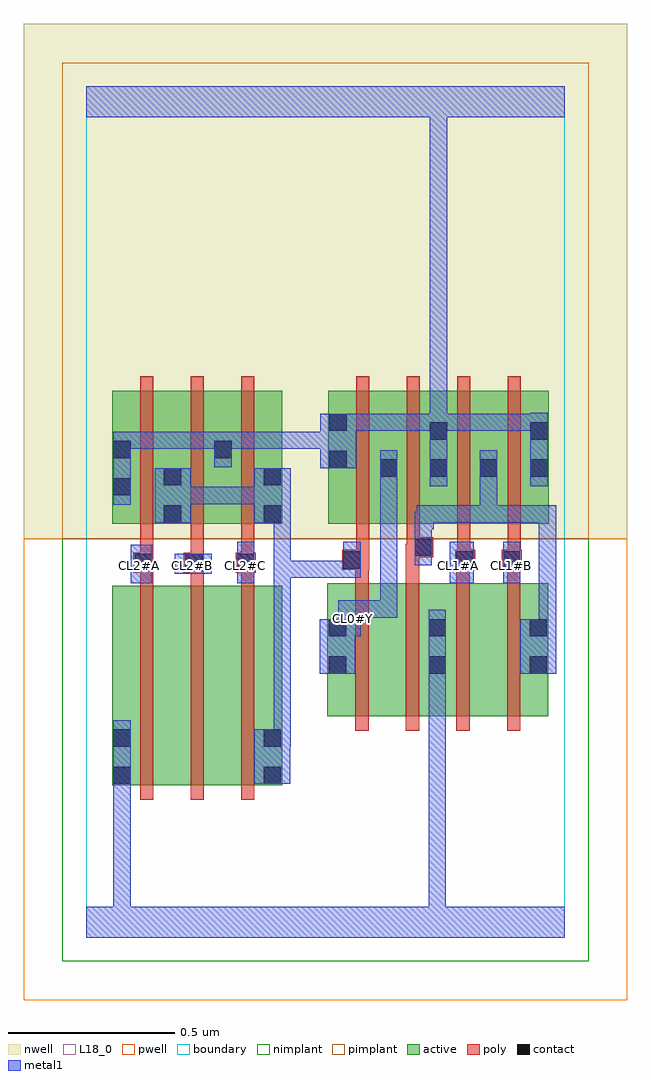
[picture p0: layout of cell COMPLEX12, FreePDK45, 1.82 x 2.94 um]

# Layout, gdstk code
import gdstk
lib = gdstk.Library(unit=1e-6, precision=1e-09)
def R(c, l, rs):  # rectangles x0, y0, x1, y1
    for r in rs: c.add(gdstk.rectangle(r[:2], r[2:], *l))
def A(c, l, x, y, w, h, nx, ny, dx, dy):  # array of equal rectangles
    R(c, l, [(x+i*dx, y+j*dy, x+i*dx+w, y+j*dy+h) for i in range(nx) for j in range(ny)])
active = (1, 0)
pwell = (2, 0)
nwell = (3, 0)
nimplant = (4, 0)
pimplant = (5, 0)
poly = (9, 0)
contact = (10, 0)
metal1 = (11, 0)
L18_0 = (18, 0)
boundary = (235, 0)

complex12 = lib.new_cell('COMPLEX12')
A(complex12, active, 0.078, 1.244, 0.06, 0.4, 3, 1, 0.152, 0)
A(complex12, active, 0.88, 1.244, 0.06, 0.4, 3, 1, 0.15, 0)
R(complex12, active, [(0.078,0.458,0.138,1.058), (0.078,0.458,0.258,1.058), (0.258,0.458,0.41,1.058), (0.41,0.458,0.59,1.058), (0.53,0.458,0.59,1.058), (0.726,0.666,0.906,1.066), (0.906,0.666,1.086,1.066), (1.026,0.666,1.21,1.066), (1.21,0.666,1.39,1.066), (0.726,0.756,0.786,1.066), (1.026,0.756,1.086,1.066), (1.33,0.756,1.39,1.066), (0.078,1.244,0.29,1.644), (0.23,1.244,0.442,1.644), (0.382,1.244,0.59,1.644), (0.53,1.244,0.59,1.644), (0.728,1.244,0.788,1.644), (0.728,1.244,0.94,1.644), (0.88,1.244,1.09,1.644), (1.03,1.244,1.24,1.644), (1.18,1.244,1.392,1.644), (1.332,1.244,1.392,1.644)])
R(complex12, pwell, [(-0.188,-0.188,1.628,1.2)])
R(complex12, nwell, [(-0.188,1.2,1.628,2.748)])
R(complex12, nimplant, [(-0.072,-0.072,1.512,1.2)])
R(complex12, pimplant, [(-0.072,1.2,1.512,2.632)])
A(complex12, poly, 0.162, 0.414, 0.04, 0.688, 3, 1, 0.152, 0)
A(complex12, poly, 0.81, 0.622, 0.04, 0.488, 4, 1, 0.152, 0)
A(complex12, poly, 0.162, 1.062, 0.04, 0.076, 3, 1, 0.152, 0)
A(complex12, poly, 0.162, 1.118, 0.04, 0.122, 3, 1, 0.152, 0)
A(complex12, poly, 0.162, 1.2, 0.04, 0.488, 3, 1, 0.152, 0)
A(complex12, poly, 0.812, 1.2, 0.04, 0.488, 4, 1, 0.152, 0)
R(complex12, poly, [(0.81,1.07,0.85,1.146), (0.962,1.07,1.002,1.184), (1.114,1.07,1.154,1.146), (1.266,1.07,1.306,1.146), (0.142,1.098,0.202,1.158), (0.162,1.098,0.202,1.138), (0.162,1.098,0.202,1.138), (0.294,1.098,0.354,1.158), (0.314,1.098,0.354,1.138), (0.314,1.098,0.354,1.138), (0.45,1.098,0.51,1.158), (0.466,1.098,0.506,1.138), (0.466,1.098,0.506,1.138), (0.77,1.106,0.852,1.166), (0.81,1.106,0.85,1.146), (0.81,1.106,0.85,1.146), (1.11,1.106,1.17,1.166), (1.25,1.106,1.31,1.166), (0.812,1.126,0.852,1.24), (1.116,1.126,1.156,1.24), (1.116,1.126,1.156,1.166), (1.116,1.126,1.156,1.166), (1.268,1.126,1.308,1.24), (1.268,1.126,1.308,1.166), (1.268,1.126,1.308,1.166), (0.962,1.144,1.004,1.184), (0.964,1.144,1.004,1.184), (0.964,1.144,1.044,1.204), (0.964,1.164,1.004,1.24)])
A(complex12, contact, 0.884, 1.386, 0.052, 0.052, 3, 1, 0.15, 0)
R(complex12, contact, [(0.082,0.462,0.134,0.514), (0.534,0.462,0.586,0.514), (0.082,0.574,0.134,0.626), (0.534,0.574,0.586,0.626), (0.73,0.794,0.782,0.846), (1.03,0.794,1.082,0.846), (1.334,0.794,1.386,0.846), (0.73,0.906,0.782,0.958), (1.03,0.906,1.082,0.958), (1.334,0.906,1.386,0.958), (0.146,1.102,0.198,1.154), (0.298,1.102,0.35,1.154), (0.454,1.102,0.506,1.154), (0.774,1.11,0.826,1.162), (1.114,1.11,1.166,1.162), (1.254,1.11,1.306,1.162), (0.988,1.148,1.04,1.2), (0.234,1.248,0.286,1.3), (0.534,1.248,0.586,1.3), (0.082,1.33,0.134,1.382), (0.234,1.36,0.286,1.412), (0.534,1.36,0.586,1.412), (1.336,1.386,1.388,1.438), (0.732,1.412,0.784,1.464), (0.082,1.442,0.134,1.494), (0.386,1.442,0.438,1.494), (1.034,1.498,1.086,1.55), (1.336,1.498,1.388,1.55), (0.732,1.524,0.784,1.576)])
R(complex12, metal1, [(0,0,1.44,0.092), (0.082,0.04,0.134,0.092), (0.082,0.04,0.134,0.092), (0.082,0.04,0.134,0.092), (0.082,0.04,0.134,0.092), (0.082,0.04,0.134,0.092), (0.082,0.04,0.134,0.092), (0.082,0.04,0.134,0.486), (1.03,0.04,1.082,0.092), (1.03,0.04,1.082,0.092), (1.03,0.04,1.082,0.092), (1.03,0.04,1.082,0.092), (1.03,0.04,1.082,0.092), (1.03,0.04,1.082,0.092), (1.03,0.04,1.082,0.092), (1.03,0.04,1.082,0.092), (1.03,0.04,1.082,0.818), (0.082,0.434,0.134,0.486), (0.082,0.434,0.134,0.486), (0.082,0.434,0.134,0.654), (0.506,0.462,0.614,0.626), (0.562,0.574,0.614,0.626), (0.562,0.574,0.616,0.626), (0.564,0.574,0.616,1.134), (1.03,0.766,1.082,0.818), (1.03,0.766,1.082,0.818), (1.03,0.766,1.082,0.818), (1.03,0.766,1.082,0.818), (1.03,0.766,1.082,0.986), (0.702,0.794,0.81,0.958), (1.306,0.794,1.414,0.958), (0.758,0.906,0.81,0.958), (0.758,0.906,0.826,1.014), (1.362,0.906,1.414,0.958), (1.362,0.906,1.414,0.958), (1.362,0.906,1.414,1.3), (0.774,0.962,0.826,1.014), (0.774,0.962,0.826,1.014), (0.774,0.962,0.936,1.014), (0.884,0.962,0.936,1.014), (0.884,0.962,0.936,1.41), (0.134,1.066,0.198,1.182), (0.454,1.066,0.506,1.19), (1.094,1.066,1.166,1.19), (1.254,1.066,1.306,1.19), (0.564,1.082,0.616,1.134), (0.564,1.082,0.826,1.134), (0.564,1.082,0.616,1.3), (0.774,1.082,0.826,1.134), (0.774,1.082,0.826,1.134), (0.774,1.082,0.826,1.19), (0.266,1.094,0.378,1.154), (0.988,1.12,1.04,1.28), (0.988,1.228,1.046,1.28), (0.994,1.228,1.046,1.3), (0.206,1.248,0.314,1.412), (0.506,1.248,0.616,1.412), (0.994,1.248,1.196,1.3), (1.144,1.248,1.196,1.3), (1.144,1.248,1.236,1.3), (1.184,1.248,1.236,1.3), (1.184,1.248,1.414,1.3), (1.184,1.248,1.236,1.41), (1.362,1.248,1.414,1.3), (1.362,1.248,1.414,1.3), (1.362,1.248,1.414,1.3), (0.082,1.302,0.134,1.522), (0.262,1.304,0.314,1.356), (0.262,1.304,0.314,1.356), (0.262,1.304,0.424,1.356), (0.372,1.304,0.424,1.356), (0.372,1.304,0.424,1.356), (0.372,1.304,0.424,1.356), (0.372,1.304,0.558,1.356), (0.884,1.358,0.936,1.41), (0.884,1.358,0.936,1.41), (0.884,1.358,0.936,1.466), (1.034,1.358,1.086,1.578), (1.184,1.358,1.236,1.466), (1.336,1.358,1.388,1.578), (0.704,1.412,0.812,1.576), (0.386,1.414,0.438,1.522), (0.082,1.47,0.134,1.522), (0.082,1.47,0.134,1.522), (0.082,1.47,0.244,1.522), (0.192,1.47,0.244,1.522), (0.192,1.47,0.244,1.522), (0.192,1.47,0.244,1.522), (0.192,1.47,0.438,1.522), (0.386,1.47,0.644,1.522), (0.592,1.47,0.644,1.522), (0.592,1.47,0.644,1.522), (0.592,1.47,0.644,1.522), (0.592,1.47,0.756,1.522), (0.76,1.524,0.812,1.576), (0.76,1.524,0.812,1.576), (0.76,1.524,0.936,1.576), (0.884,1.524,0.936,1.576), (0.884,1.524,0.936,1.576), (0.884,1.524,0.936,1.576), (0.884,1.524,1.086,1.576), (1.034,1.524,1.196,1.576), (1.144,1.524,1.196,1.576), (1.144,1.524,1.196,1.576), (1.144,1.524,1.196,1.576), (1.144,1.524,1.388,1.576), (1.336,1.524,1.388,1.576), (1.336,1.524,1.388,1.576), (1.034,1.526,1.086,2.52), (0,2.468,1.44,2.56), (1.034,2.468,1.086,2.52), (1.034,2.468,1.086,2.52), (1.034,2.468,1.086,2.52), (1.034,2.468,1.086,2.52), (1.034,2.468,1.086,2.52), (1.034,2.468,1.086,2.52), (1.034,2.468,1.086,2.52), (1.034,2.468,1.086,2.52), (1.034,2.468,1.086,2.52), (1.034,2.468,1.086,2.52), (1.034,2.468,1.086,2.52), (1.034,2.468,1.086,2.52), (1.034,2.468,1.086,2.52), (1.034,2.468,1.086,2.52), (1.034,2.468,1.086,2.52), (1.034,2.468,1.086,2.52)])
A(complex12, L18_0, 0.134, 1.094, 0.052, 0.052, 3, 1, 0.16, 0)
R(complex12, L18_0, [(0,0,1.44,0.092), (0.082,0.04,0.134,0.092), (0.082,0.04,0.134,0.092), (0.082,0.04,0.134,0.092), (0.082,0.04,0.134,0.092), (0.082,0.04,0.134,0.092), (0.082,0.04,0.134,0.092), (0.082,0.04,0.134,0.486), (1.03,0.04,1.082,0.092), (1.03,0.04,1.082,0.092), (1.03,0.04,1.082,0.092), (1.03,0.04,1.082,0.092), (1.03,0.04,1.082,0.092), (1.03,0.04,1.082,0.092), (1.03,0.04,1.082,0.092), (1.03,0.04,1.082,0.092), (1.03,0.04,1.082,0.818), (0.082,0.434,0.134,0.486), (0.082,0.434,0.134,0.486), (0.082,0.434,0.134,0.654), (1.03,0.766,1.082,0.818), (1.03,0.766,1.082,0.818), (1.03,0.766,1.082,0.818), (1.03,0.766,1.082,0.818), (1.03,0.766,1.082,0.986), (0.702,0.794,0.81,0.958), (0.758,0.906,0.81,0.958), (0.758,0.906,0.826,1.014), (0.774,0.934,0.826,0.986), (0.774,0.962,0.826,1.014), (0.774,0.962,0.826,1.014), (0.774,0.962,0.936,1.014), (0.884,0.962,0.936,1.014), (0.884,0.962,0.936,1.41), (0.134,1.066,0.198,1.182), (0.454,1.066,0.506,1.19), (1.094,1.066,1.166,1.19), (1.254,1.066,1.306,1.19), (0.266,1.094,0.378,1.154), (1.094,1.094,1.146,1.146), (1.254,1.094,1.306,1.146), (0.082,1.302,0.134,1.522), (0.884,1.358,0.936,1.41), (0.884,1.358,0.936,1.41), (0.884,1.358,0.936,1.466), (1.034,1.358,1.086,1.578), (1.336,1.358,1.388,1.578), (0.704,1.412,0.812,1.576), (0.386,1.414,0.438,1.522), (0.082,1.47,0.134,1.522), (0.082,1.47,0.134,1.522), (0.082,1.47,0.244,1.522), (0.192,1.47,0.244,1.522), (0.192,1.47,0.244,1.522), (0.192,1.47,0.244,1.522), (0.192,1.47,0.438,1.522), (0.386,1.47,0.644,1.522), (0.592,1.47,0.644,1.522), (0.592,1.47,0.644,1.522), (0.592,1.47,0.644,1.522), (0.592,1.47,0.756,1.522), (0.76,1.524,0.812,1.576), (0.76,1.524,0.812,1.576), (0.76,1.524,0.936,1.576), (0.884,1.524,0.936,1.576), (0.884,1.524,0.936,1.576), (0.884,1.524,0.936,1.576), (0.884,1.524,1.086,1.576), (1.034,1.524,1.196,1.576), (1.144,1.524,1.196,1.576), (1.144,1.524,1.196,1.576), (1.144,1.524,1.196,1.576), (1.144,1.524,1.388,1.576), (1.336,1.524,1.388,1.576), (1.336,1.524,1.388,1.576), (1.034,1.526,1.086,2.52), (0,2.468,1.44,2.56), (1.034,2.468,1.086,2.52), (1.034,2.468,1.086,2.52), (1.034,2.468,1.086,2.52), (1.034,2.468,1.086,2.52), (1.034,2.468,1.086,2.52), (1.034,2.468,1.086,2.52), (1.034,2.468,1.086,2.52), (1.034,2.468,1.086,2.52), (1.034,2.468,1.086,2.52), (1.034,2.468,1.086,2.52), (1.034,2.468,1.086,2.52), (1.034,2.468,1.086,2.52), (1.034,2.468,1.086,2.52), (1.034,2.468,1.086,2.52), (1.034,2.468,1.086,2.52), (1.034,2.468,1.086,2.52)])
R(complex12, boundary, [(0,0,1.44,2.56)])
complex12.add(gdstk.Label('CL0#Y', (0.8,0.96), layer=11, texttype=0))
complex12.add(gdstk.Label('CL1#A', (1.12,1.12), layer=11, texttype=0))
complex12.add(gdstk.Label('CL1#B', (1.28,1.12), layer=11, texttype=0))
complex12.add(gdstk.Label('CL2#A', (0.16,1.12), layer=11, texttype=0))
complex12.add(gdstk.Label('CL2#B', (0.32,1.12), layer=11, texttype=0))
complex12.add(gdstk.Label('CL2#C', (0.48,1.12), layer=11, texttype=0))

lib.write_gds('COMPLEX12.gds')
